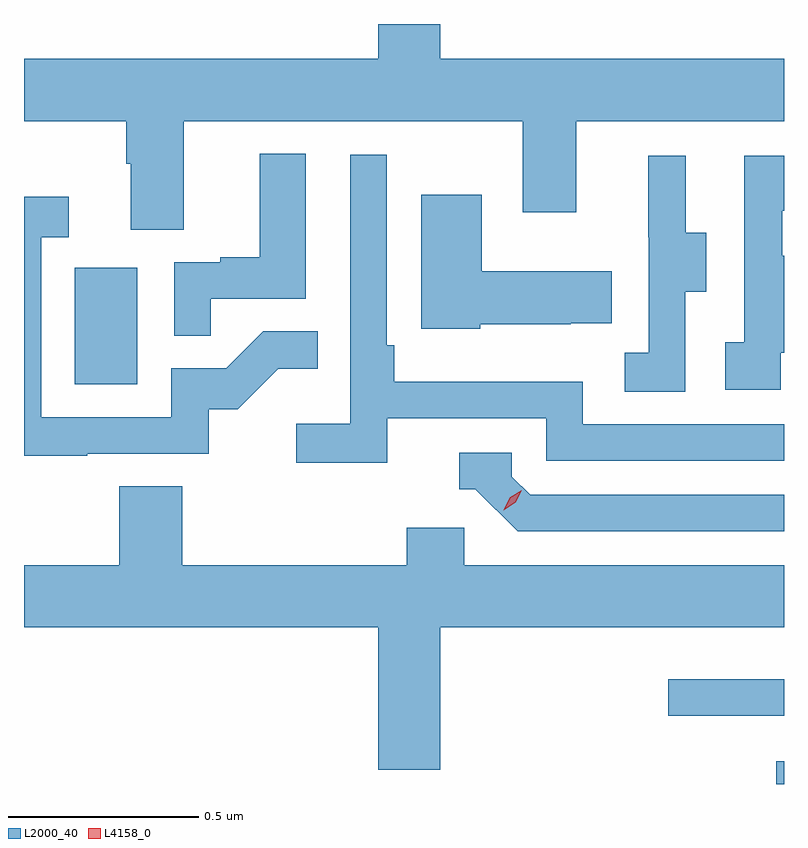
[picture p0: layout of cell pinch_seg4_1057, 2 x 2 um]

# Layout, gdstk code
import gdstk
lib = gdstk.Library(unit=1e-6, precision=1e-09)
def R(c, l, rs):  # rectangles x0, y0, x1, y1
    for r in rs: c.add(gdstk.rectangle(r[:2], r[2:], *l))
def P(c, l, *ps):  # polygons
    for p in ps: c.add(gdstk.Polygon(p, *l))
L2000_40 = (2000, 40)
L4158_0 = (4158, 0)

pinch_seg4_1057 = lib.new_cell('pinch_seg4_1057')
R(pinch_seg4_1057, L2000_40, [(825.395,751.12,825.416,751.18), (825.111,751.299,825.416,751.396), (823.55,752.172,823.714,752.479)])
P(pinch_seg4_1057, L2000_40, [(823.837,752.864),(824.729,752.864),(824.729,752.625),(824.869,752.625),(824.869,752.864),(825.416,752.864),(825.416,753.028),(824.512,753.028),(824.512,753.12),(824.348,753.12),(824.348,753.028),(823.416,753.028),(823.416,752.864),(823.685,752.864),(823.685,752.752),(823.697,752.752),(823.697,752.578),(823.837,752.578)],
  [(823.907,752.397),(824.158,752.397),(824.158,752.779),(824.036,752.779),(824.036,752.506),(823.933,752.506),(823.933,752.493),(823.812,752.493),(823.812,752.299),(823.907,752.299)],
  [(824.372,752.082),(824.79,752.082),(824.79,751.971),(825.416,751.971),(825.416,752.067),(824.886,752.067),(824.886,752.179),(824.39,752.179),(824.39,752.275),(824.37,752.275),(824.37,752.776),(824.274,752.776),(824.274,752.068),(824.133,752.068),(824.133,751.966),(824.372,751.966)],
  [(825.408,752.255),(825.416,752.255),(825.416,752.51),(825.411,752.51),(825.411,752.628),(825.416,752.628),(825.416,752.773),(825.312,752.773),(825.312,752.282),(825.261,752.282),(825.261,752.157),(825.408,752.157)],
  [(825.156,752.416),(825.211,752.416),(825.211,752.571),(825.157,752.571),(825.157,752.773),(825.059,752.773),(825.059,752.559),(825.06,752.559),(825.06,752.255),(824.997,752.255),(824.997,752.152),(825.156,752.152)],
  [(824.616,752.33),(824.855,752.33),(824.855,752.333),(824.963,752.333),(824.963,752.47),(824.62,752.47),(824.62,752.671),(824.462,752.671),(824.462,752.318),(824.616,752.318)],
  [(823.583,751.989),(823.902,751.989),(823.902,752.106),(823.978,752.106),(824.085,752.213),(824.189,752.213),(824.189,752.312),(824.046,752.312),(823.948,752.214),(823.803,752.214),(823.803,752.085),(823.461,752.085),(823.461,752.559),(823.534,752.559),(823.534,752.665),(823.416,752.665),(823.416,751.984),(823.583,751.984)],
  [(825.416,751.881),(824.748,751.881),(824.7,751.929),(824.7,751.992),(824.561,751.992),(824.561,751.896),(824.604,751.896),(824.715,751.785),(825.416,751.785)],
  [(824.512,751.532),(825.416,751.532),(825.416,751.696),(824.574,751.696),(824.574,751.794),(824.423,751.794),(824.423,751.696),(823.832,751.696),(823.832,751.904),(823.667,751.904),(823.667,751.696),(823.416,751.696),(823.416,751.532),(824.348,751.532),(824.348,751.158),(824.512,751.158)])
P(pinch_seg4_1057, L4158_0, [(824.678,751.841),(824.678,751.842),(824.695,751.874),(824.726,751.893),(824.726,751.893),(824.726,751.893),(824.71,751.861),(824.679,751.841)])

lib.write_gds('pinch_seg4_1057.gds')
